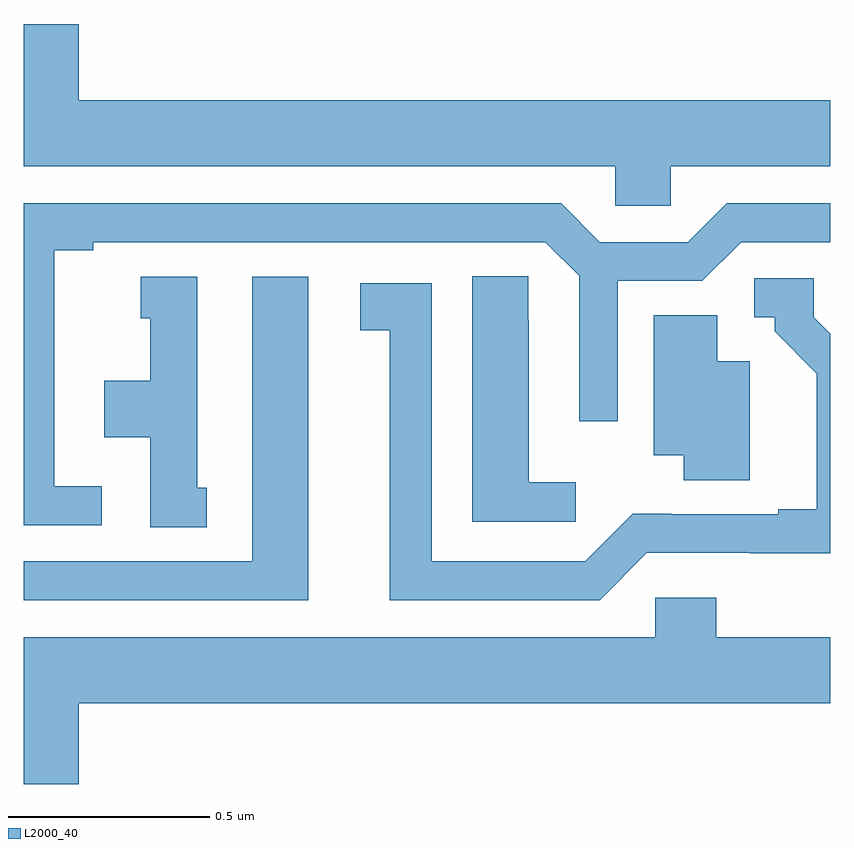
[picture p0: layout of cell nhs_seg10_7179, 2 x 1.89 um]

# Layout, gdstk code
import gdstk
lib = gdstk.Library(unit=1e-6, precision=1e-09)
def P(c, l, *ps):  # polygons
    for p in ps: c.add(gdstk.Polygon(p, *l))
L2000_40 = (2000, 40)

nhs_seg10_7179 = lib.new_cell('nhs_seg10_7179')
P(nhs_seg10_7179, L2000_40, [(202.605,1251.032),(203,1251.032),(203,1251.196),(201.136,1251.196),(201.136,1251.385),(201,1251.385),(201,1251.032),(202.467,1251.032),(202.467,1250.934),(202.605,1250.934)],
  [(201.193,1250.238),(201.076,1250.238),(201.076,1250.824),(201.172,1250.824),(201.172,1250.844),(202.293,1250.844),(202.377,1250.76),(202.377,1250.4),(202.473,1250.4),(202.473,1250.748),(202.683,1250.748),(202.779,1250.844),(203,1250.844),(203,1250.94),(202.743,1250.94),(202.647,1250.844),(202.429,1250.844),(202.333,1250.94),(201,1250.94),(201,1250.142),(201.193,1250.142)],
  [(202.369,1250.248),(202.252,1250.248),(202.252,1250.651),(202.251,1250.651),(202.251,1250.759),(202.112,1250.759),(202.112,1250.151),(202.369,1250.151)],
  [(201.454,1250.235),(201.43,1250.235),(201.43,1250.758),(201.29,1250.758),(201.29,1250.655),(201.314,1250.655),(201.314,1250.5),(201.2,1250.5),(201.2,1250.36),(201.314,1250.36),(201.314,1250.137),(201.454,1250.137)],
  [(201.706,1250.758),(201.566,1250.758),(201.566,1250.052),(201,1250.052),(201,1249.956),(201.706,1249.956)],
  [(202.545,1250.073),(202.801,1250.073),(202.801,1250.072),(203,1250.072),(203,1250.617),(202.959,1250.658),(202.959,1250.754),(202.812,1250.754),(202.812,1250.658),(202.862,1250.658),(202.862,1250.623),(202.967,1250.518),(202.967,1250.182),(202.871,1250.182),(202.871,1250.169),(202.606,1250.169),(202.606,1250.17),(202.51,1250.17),(202.392,1250.052),(202.012,1250.052),(202.012,1250.742),(201.834,1250.742),(201.834,1250.626),(201.908,1250.626),(201.908,1249.956),(202.428,1249.956)],
  [(202.801,1250.548),(202.72,1250.548),(202.72,1250.663),(202.562,1250.663),(202.562,1250.315),(202.637,1250.315),(202.637,1250.254),(202.801,1250.254)],
  [(201.136,1249.7),(203,1249.7),(203,1249.864),(202.718,1249.864),(202.718,1249.962),(202.566,1249.962),(202.566,1249.864),(201,1249.864),(201,1249.5),(201.136,1249.5)])

lib.write_gds('nhs_seg10_7179.gds')
